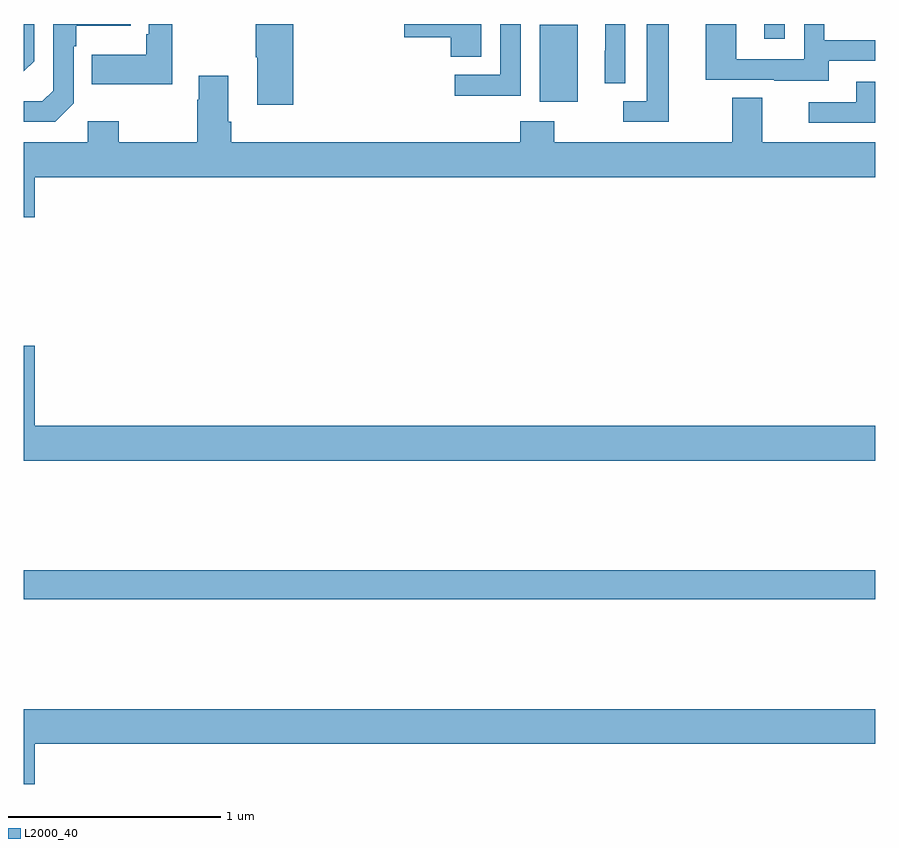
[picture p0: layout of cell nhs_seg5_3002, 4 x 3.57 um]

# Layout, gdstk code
import gdstk
lib = gdstk.Library(unit=1e-6, precision=1e-09)
def R(c, l, rs):  # rectangles x0, y0, x1, y1
    for r in rs: c.add(gdstk.rectangle(r[:2], r[2:], *l))
def P(c, l, *ps):  # polygons
    for p in ps: c.add(gdstk.Polygon(p, *l))
L2000_40 = (2000, 40)

nhs_seg5_3002 = lib.new_cell('nhs_seg5_3002')
R(nhs_seg5_3002, L2000_40, [(285,868.096,289,868.232), (287.423,870.434,287.602,870.795), (288.479,870.729,288.576,870.799)])
P(nhs_seg5_3002, L2000_40, [(287.826,870.799),(287.73,870.799),(287.732,870.797),(287.732,870.674),(287.73,870.674),(287.73,870.52),(287.826,870.52)],
  [(288.031,870.799),(287.927,870.799),(287.927,870.435),(287.817,870.435),(287.817,870.339),(288.031,870.339)],
  [(286.265,870.799),(286.09,870.799),(286.09,870.643),(286.097,870.643),(286.097,870.42),(286.265,870.42)],
  [(287.149,870.799),(286.788,870.799),(286.788,870.737),(287.006,870.737),(287.006,870.646),(287.149,870.646)],
  [(285.048,870.624),(285.048,870.799),(285,870.799),(285,870.576)],
  [(285.234,870.426),(285.234,870.695),(285.247,870.695),(285.247,870.791),(285.503,870.791),(285.503,870.799),(285.138,870.799),(285.138,870.486),(285.087,870.435),(285,870.435),(285,870.339),(285.147,870.339)],
  [(285.697,870.799),(285.588,870.799),(285.588,870.751),(285.576,870.751),(285.576,870.655),(285.319,870.655),(285.319,870.515),(285.697,870.515)],
  [(287.334,870.799),(287.238,870.799),(287.238,870.561),(287.025,870.561),(287.025,870.463),(287.334,870.463)],
  [(288.781,870.627),(289,870.627),(289,870.723),(288.762,870.723),(288.762,870.799),(288.666,870.799),(288.666,870.633),(288.348,870.633),(288.348,870.799),(288.203,870.799),(288.203,870.537),(288.527,870.537),(288.527,870.533),(288.781,870.533)],
  [(289,870.244),(288.469,870.244),(288.469,870.452),(288.329,870.452),(288.329,870.244),(287.493,870.244),(287.493,870.343),(287.333,870.343),(287.333,870.244),(285.974,870.244),(285.974,870.34),(285.961,870.34),(285.961,870.556),(285.821,870.556),(285.821,870.443),(285.814,870.443),(285.814,870.244),(285.447,870.244),(285.447,870.343),(285.3,870.343),(285.3,870.244),(285,870.244),(285,869.892),(285.052,869.892),(285.052,870.08),(289,870.08)],
  [(289,870.528),(288.911,870.528),(288.911,870.432),(288.687,870.432),(288.687,870.336),(289,870.336)],
  [(289,868.912),(285.052,868.912),(285.052,869.287),(285,869.287),(285,868.748),(289,868.748)],
  [(285.052,867.416),(289,867.416),(289,867.58),(285,867.58),(285,867.228),(285.052,867.228)])

lib.write_gds('nhs_seg5_3002.gds')
